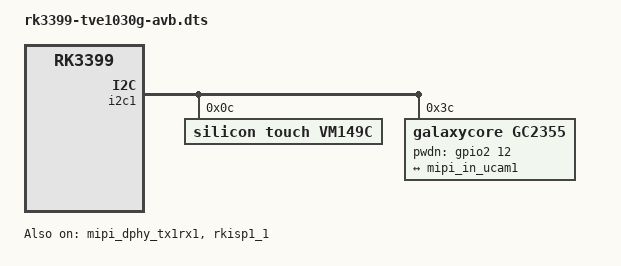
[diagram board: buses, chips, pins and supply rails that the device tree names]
// SPDX-License-Identifier: (GPL-2.0+ OR MIT)
/*
 * Copyright (c) 2018 Fuzhou Rockchip Electronics Co., Ltd
 */

/dts-v1/;
#include "rk3399-tve1030g.dtsi"

/ {
	compatible = "rockchip,rk3399-tve1030g-avb", "rockchip,rk3399";
};

&i2c1 {
	status = "okay";

	vm149c: vm149c@0c {
		compatible = "silicon touch,vm149c";
		status = "okay";
		reg = <0x0c>;
		rockchip,camera-module-index = <0>;
		rockchip,camera-module-facing = "back";
	};

	ov13850: ov13850@10 {
		compatible = "ovti,ov13850";
		status = "disabled";
		reg = <0x10>;
		clocks = <&cru SCLK_CIF_OUT>;
		clock-names = "xvclk";
		/* avdd-supply = <>; */
		/* dvdd-supply = <>; */
		/* dovdd-supply = <>; */
		/* reset-gpios = <>; */
		reset-gpios = <&gpio2 10 GPIO_ACTIVE_HIGH>;
		pwdn-gpios = <&gpio1 4 GPIO_ACTIVE_HIGH>;
		pinctrl-names = "rockchip,camera_default";
		pinctrl-0 = <&cif_clkout>;
		rockchip,camera-module-index = <0>;
		rockchip,camera-module-facing = "back";
		rockchip,camera-module-name = "CMK-CT0116";
		rockchip,camera-module-lens-name = "Largan-50013A1";
		lens-focus = <&vm149c>;
		port {
			ucam_out0: endpoint {
				remote-endpoint = <&mipi_in_ucam0>;
				//remote-endpoint = <&mipi_in_ucam1>;
				data-lanes = <1 2>;
			};
		};
	};

	gc2355: gc2355@3c {
		status = "okay";
		compatible = "galaxycore,gc2355";
		reg = <0x3c>;
		clocks = <&cru SCLK_CIF_OUT>;
		clock-names = "xvclk";
		/* avdd-supply = <>; */
		/* dvdd-supply = <>; */
		/* dovdd-supply = <>; */
		/* reset-gpios = <>; */
		pwdn-gpios = <&gpio2 12 GPIO_ACTIVE_HIGH>;
		pinctrl-names = "rockchip,camera_default";
		pinctrl-0 = <&cif_clkout>;
		rockchip,camera-module-index = <1>;
		rockchip,camera-module-facing = "front";
		rockchip,camera-module-name = "CMK-CW2392";
		rockchip,camera-module-lens-name = "M206A-201";
		port {
			ucam_out1: endpoint {
				//remote-endpoint = <&mipi_in_ucam0>;
				remote-endpoint = <&mipi_in_ucam1>;
				data-lanes = <1>;
			};
		};
	};
};

&mipi_dphy_rx0 {
	status = "disabled";

	ports {
		#address-cells = <1>;
		#size-cells = <0>;

		port@0 {
			reg = <0>;
			#address-cells = <1>;
			#size-cells = <0>;

			mipi_in_ucam0: endpoint@1 {
				reg = <1>;
				remote-endpoint = <&ucam_out0>;
				data-lanes = <1 2>;
			};
		};

		port@1 {
			reg = <1>;
			#address-cells = <1>;
			#size-cells = <0>;

			dphy_rx0_out: endpoint@0 {
				reg = <0>;
				remote-endpoint = <&isp0_mipi_in>;
			};
		};
	};
};

&mipi_dphy_tx1rx1 {
	status = "okay";

	ports {
		#address-cells = <1>;
		#size-cells = <0>;

		port@0 {
			reg = <0>;
			#address-cells = <1>;
			#size-cells = <0>;

			mipi_in_ucam1: endpoint@1 {
				reg = <1>;
				remote-endpoint = <&ucam_out1>;
				data-lanes = <1>;
			};
		};

		port@1 {
			reg = <1>;
			#address-cells = <1>;
			#size-cells = <0>;

			dphy_tx1rx1_out: endpoint@0 {
				reg = <0>;
				remote-endpoint = <&isp1_mipi_in>;
			};
		};
	};
};

&rkisp1_0 {
	status = "disabled";

	port {
		#address-cells = <1>;
		#size-cells = <0>;

		isp0_mipi_in: endpoint@0 {
			reg = <0>;
			remote-endpoint = <&dphy_rx0_out>;
		};
	};
};

&rkisp1_1 {
	status = "okay";

	port {
		#address-cells = <1>;
		#size-cells = <0>;

		isp1_mipi_in: endpoint@0 {
			reg = <0>;
			remote-endpoint = <&dphy_tx1rx1_out>;
		};
	};
};

